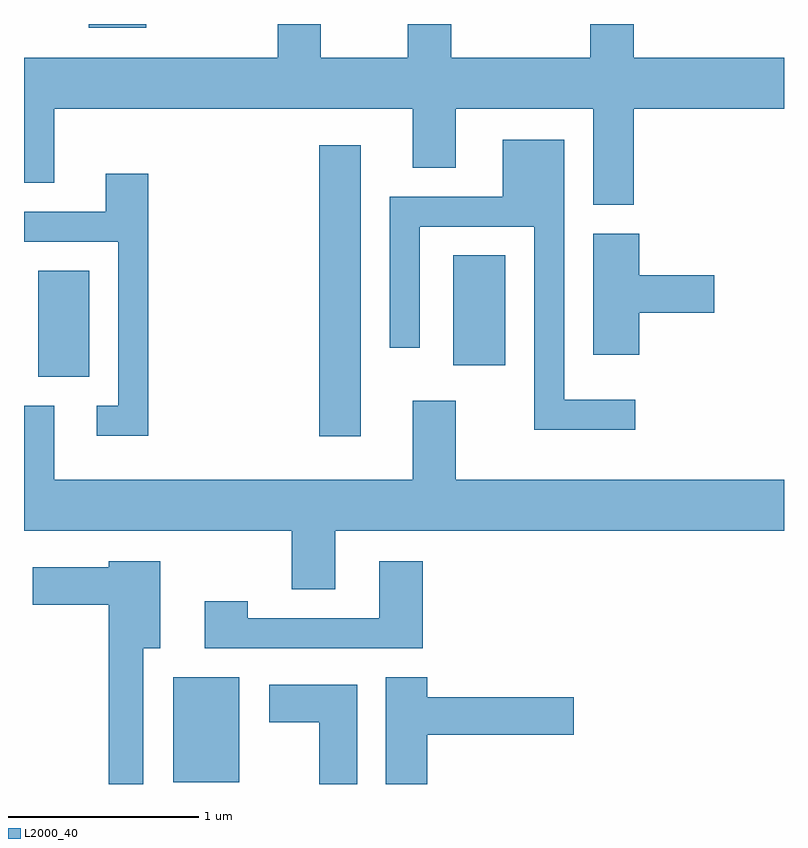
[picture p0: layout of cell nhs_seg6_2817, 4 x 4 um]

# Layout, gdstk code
import gdstk
lib = gdstk.Library(unit=1e-6, precision=1e-09)
def R(c, l, rs):  # rectangles x0, y0, x1, y1
    for r in rs: c.add(gdstk.rectangle(r[:2], r[2:], *l))
def P(c, l, *ps):  # polygons
    for p in ps: c.add(gdstk.Polygon(p, *l))
L2000_40 = (2000, 40)

nhs_seg6_2817 = lib.new_cell('nhs_seg6_2817')
R(nhs_seg6_2817, L2000_40, [(270.396,1644.171,270.744,1644.724), (271.166,1645.991,271.384,1647.524), (269.686,1646.306,269.954,1646.864), (271.871,1646.366,272.144,1646.944), (269.951,1648.141,270.254,1648.162)])
P(nhs_seg6_2817, L2000_40, [(272.819,1647.716),(273.611,1647.716),(273.611,1647.984),(272.819,1647.984),(272.819,1648.162),(272.591,1648.162),(272.591,1647.984),(271.859,1647.984),(271.859,1648.162),(271.631,1648.162),(271.631,1647.984),(271.174,1647.984),(271.174,1648.162),(270.946,1648.162),(270.946,1647.984),(269.611,1647.984),(269.611,1647.326),(269.769,1647.326),(269.769,1647.716),(271.656,1647.716),(271.656,1647.406),(271.884,1647.406),(271.884,1647.716),(272.606,1647.716),(272.606,1647.211),(272.819,1647.211)],
  [(272.828,1646.184),(272.454,1646.184),(272.454,1647.554),(272.131,1647.554),(272.131,1647.254),(271.536,1647.254),(271.536,1646.458),(271.694,1646.458),(271.694,1647.096),(272.296,1647.096),(272.296,1646.026),(272.828,1646.026)],
  [(270.264,1647.374),(270.041,1647.374),(270.041,1647.174),(269.611,1647.174),(269.611,1647.016),(270.106,1647.016),(270.106,1646.154),(269.993,1646.154),(269.993,1645.996),(270.264,1645.996)],
  [(272.849,1646.641),(273.244,1646.641),(273.244,1646.839),(272.849,1646.839),(272.849,1647.059),(272.606,1647.059),(272.606,1646.421),(272.849,1646.421)],
  [(271.249,1645.496),(273.611,1645.496),(273.611,1645.764),(271.884,1645.764),(271.884,1646.179),(271.656,1646.179),(271.656,1645.764),(269.769,1645.764),(269.769,1646.154),(269.611,1646.154),(269.611,1645.496),(271.021,1645.496),(271.021,1645.186),(271.249,1645.186)],
  [(271.709,1645.334),(271.481,1645.334),(271.481,1645.034),(270.789,1645.034),(270.789,1645.124),(270.561,1645.124),(270.561,1644.876),(271.709,1644.876)],
  [(270.239,1644.876),(270.329,1644.876),(270.329,1645.334),(270.056,1645.334),(270.056,1645.304),(269.656,1645.304),(269.656,1645.106),(270.056,1645.106),(270.056,1644.162),(270.239,1644.162)],
  [(271.734,1644.421),(272.504,1644.421),(272.504,1644.619),(271.734,1644.619),(271.734,1644.724),(271.516,1644.724),(271.516,1644.162),(271.734,1644.162)],
  [(271.364,1644.684),(270.901,1644.684),(270.901,1644.486),(271.166,1644.486),(271.166,1644.162),(271.364,1644.162)])

lib.write_gds('nhs_seg6_2817.gds')
